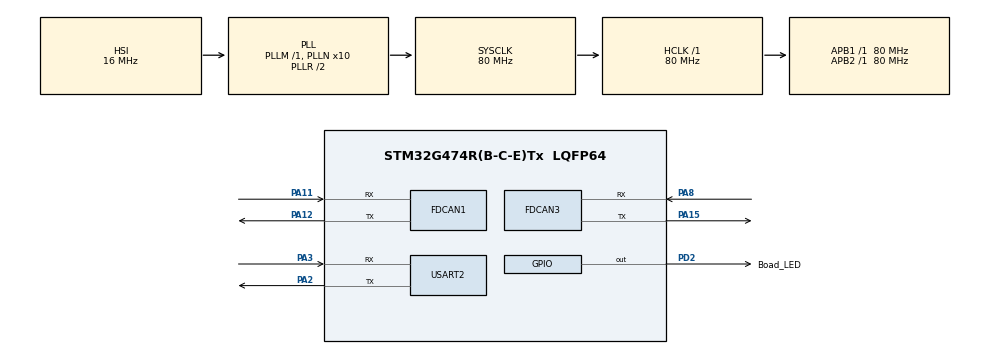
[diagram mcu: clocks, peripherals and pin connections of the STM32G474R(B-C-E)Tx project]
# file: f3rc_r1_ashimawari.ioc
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FDCAN1.CalculateBaudRateNominal=1000000
FDCAN1.CalculateTimeBitNominal=1000
FDCAN1.CalculateTimeQuantumNominal=50.0
FDCAN1.DataPrescaler=2
FDCAN1.DataTimeSeg1=15
FDCAN1.DataTimeSeg2=4
FDCAN1.FrameFormat=FDCAN_FRAME_FD_BRS
FDCAN1.NominalPrescaler=4
FDCAN1.NominalTimeSeg1=15
FDCAN1.NominalTimeSeg2=4
FDCAN1.StdFiltersNbr=1
FDCAN3.CalculateBaudRateNominal=1000000
FDCAN3.CalculateTimeBitNominal=1000
FDCAN3.CalculateTimeQuantumNominal=50.0
FDCAN3.DataPrescaler=2
FDCAN3.DataTimeSeg1=15
FDCAN3.DataTimeSeg2=4
FDCAN3.FrameFormat=FDCAN_FRAME_FD_BRS
FDCAN3.NominalPrescaler=4
FDCAN3.NominalTimeSeg1=15
FDCAN3.NominalTimeSeg2=4
FDCAN3.StdFiltersNbr=1
Mcu.Family=STM32G4
Mcu.Name=STM32G474R(B-C-E)Tx
Mcu.Package=LQFP64
NVIC.FDCAN1_IT0_IRQn=true\:0\:0\:false\:false\:true\:true\:true\:true
NVIC.FDCAN1_IT1_IRQn=true\:0\:0\:false\:false\:true\:true\:true\:true
NVIC.FDCAN3_IT0_IRQn=true\:0\:0\:false\:false\:true\:true\:true\:true
NVIC.FDCAN3_IT1_IRQn=true\:0\:0\:false\:false\:true\:true\:true\:true
NVIC.PriorityGroup=NVIC_PRIORITYGROUP_4
NVIC.TIM2_IRQn=true\:0\:0\:false\:false\:true\:true\:true\:true
NVIC.TIM6_DAC_IRQn=true\:0\:0\:false\:false\:true\:true\:true\:true
PA11.Mode=FDCAN_Activate
PA11.Signal=FDCAN1_RX
PA12.Mode=FDCAN_Activate
PA12.Signal=FDCAN1_TX
PA15.Mode=FDCAN_Activate
PA15.Signal=FDCAN3_TX
PA2.Mode=Asynchronous
PA2.Signal=USART2_TX
PA3.Mode=Asynchronous
PA3.Signal=USART2_RX
PA8.Mode=FDCAN_Activate
PA8.Signal=FDCAN3_RX
PD2.GPIO_Label=Boad_LED
PD2.Signal=GPIO_Output
ProjectManager.HeapSize=0x200
ProjectManager.StackSize=0x400
ProjectManager.TargetToolchain=STM32CubeIDE
RCC.ADC12Freq_Value=80000000
RCC.ADC345Freq_Value=80000000
RCC.AHBFreq_Value=80000000
RCC.APB1Freq_Value=80000000
RCC.APB1TimFreq_Value=80000000
RCC.APB2Freq_Value=80000000
RCC.APB2TimFreq_Value=80000000
RCC.CortexFreq_Value=80000000
RCC.EXTERNAL_CLOCK_VALUE=12288000
RCC.HCLKFreq_Value=80000000
RCC.HSE_VALUE=8000000
RCC.HSI48_VALUE=48000000
RCC.HSI_VALUE=16000000
RCC.LSE_VALUE=32768
RCC.PLLN=10
RCC.SYSCLKFreq_VALUE=80000000
RCC.SYSCLKSource=RCC_SYSCLKSOURCE_PLLCLK
RCC.USBFreq_Value=80000000
RCC.VCOOutputFreq_Value=160000000
TIM2.PeriodNoDither=4999
TIM2.Prescaler=7999
TIM6.Prescaler=9
USART2.VirtualMode-Asynchronous=VM_ASYNC
VP_SYS_VS_DBSignals.Mode=DisableDeadBatterySignals
VP_TIM2_VS_ClockSourceINT.Mode=Internal
VP_TIM6_VS_ClockSourceINT.Mode=Enable_Timer
board=custom

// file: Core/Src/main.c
/* USER CODE BEGIN Header */
/**
  ******************************************************************************
  * @file           : main.c
  * @brief          : Main program body
  ******************************************************************************
  * @attention
  *
  * Copyright (c) 2024 STMicroelectronics.
  * All rights reserved.
  *
  * This software is licensed under terms that can be found in the LICENSE file
  * in the root directory of this software component.
  * If no LICENSE file comes with this software, it is provided AS-IS.
  *
  ******************************************************************************
  */
/* USER CODE END Header */
#include "main.h"

/* USER CODE BEGIN Includes */
#include <stdio.h>
#include <math.h>
/* USER CODE END Includes */

/* USER CODE BEGIN PTD */
typedef struct{
	uint16_t CANID;
	uint8_t motorID;
	int16_t trgVel;
	volatile int16_t actVel;
	volatile int16_t p_actVel;
	volatile int16_t cu;
	double angle;
	int16_t actCurrent;
	float hensa;
	float ind;
	float w;
}motor;
/* USER CODE END PTD */

/* USER CODE BEGIN PD */
#define R_F 4
#define L_F 3
#define R_B 1
#define L_B 2

#define PI 3.1415

#define true 1
#define false 0
/* USER CODE END PD */

FDCAN_HandleTypeDef hfdcan1;
FDCAN_HandleTypeDef hfdcan3;

TIM_HandleTypeDef htim2;
TIM_HandleTypeDef htim6;

UART_HandleTypeDef huart2;

/* USER CODE BEGIN PV */
const float a0 = PI/180*45;
const float a1 = PI/180*135;
const float a2 = PI/180*225;
const float a3 = PI/180*315;
const float r = 0.03;
const float R = 0.20;

FDCAN_TxHeaderTypeDef TxHeader;
FDCAN_RxHeaderTypeDef RxHeader;
FDCAN_TxHeaderTypeDef TxHeader_motor;
FDCAN_RxHeaderTypeDef RxHeader_motor;
FDCAN_FilterTypeDef sFilterConfig;

uint8_t TxData[8] = {};
uint8_t RxData[8] = {};
uint8_t TxData_motor[8] = {};
uint8_t RxData_motor[8] = {};
uint32_t TxMailbox;

volatile int16_t vel_x = 0, vel_y = 0, omega_c = 0;

volatile int16_t purpose = 64;
motor robomas[4] = {
		{0x201, 1, 0, 0, 0, 0, 0, 0, 0, 0, 0},
		{0x202, 2, 0, 0, 0, 0, 0, 0, 0, 0, 0},
		{0x203, 3, 0, 0, 0, 0, 0, 0, 0, 0, 0},
		{0x204, 4, 0, 0, 0, 0, 0, 0, 0, 0, 0}
};

volatile float k_p = 7, k_i = 0.5, k_d = 0.0001;
volatile float vx = 0, vy = 0, omega = 0;

volatile uint8_t is_Right = 0, is_Left = 0, is_Up = 0, is_Down = 0, is_Circle = 0, is_Square = 0, is_Triangle = 0;
volatile uint8_t is_Cross = 0, is_UpRight = 0, is_DownRight = 0, is_UpLeft = 0, is_DownLeft = 0, is_R1 = 0, is_L1 = 0;
volatile uint8_t is_Share = 0, is_Options = 0, is_R3 = 0, is_L3 = 0, is_PsButton = 0, is_Touchpad = 0;

volatile int8_t b_x, b_y;

volatile uint8_t Emergencystate = 2;//0 正常 1 異常
volatile uint8_t zoom = 1;
volatile int8_t inversion = 1;
volatile uint8_t invertime = 0;
/* USER CODE END PV */

void SystemClock_Config(void);
static void MX_GPIO_Init(void);
static void MX_FDCAN1_Init(void);
static void MX_FDCAN3_Init(void);
static void MX_USART2_UART_Init(void);
static void MX_TIM6_Init(void);
static void MX_TIM2_Init(void);

/* USER CODE BEGIN 0 */

void HAL_FDCAN_RxFifo0Callback(FDCAN_HandleTypeDef *hfdcan, uint32_t RxFifo0ITs){
	if ((RxFifo0ITs & FDCAN_IT_RX_FIFO0_NEW_MESSAGE) != RESET) {

	        /* Retrieve Rx messages from RX FIFO0 */
		if (HAL_FDCAN_GetRxMessage(&hfdcan3, FDCAN_RX_FIFO0, &RxHeader_motor, RxData_motor) != HAL_OK) {
			printf("fdcan_getrxmessage_motor is error\r\n");
			Error_Handler();
		}
		for (int i=0; i<=3;i++){
			if (RxHeader_motor.Identifier == (robomas[i].CANID)) {
				robomas[i].angle = (int16_t)((RxData_motor[0] << 8) | RxData_motor[1]);
				robomas[i].actVel = (int16_t)((RxData_motor[2] << 8) | RxData_motor[3]);
				robomas[i].actCurrent = (int16_t)((RxData_motor[4] << 8) | RxData_motor[5]);
			}
		}

	}

}

void HAL_FDCAN_RxFifo1Callback(FDCAN_HandleTypeDef *hfdcan, uint32_t RxFifo1ITs){
	if ((RxFifo1ITs & FDCAN_IT_RX_FIFO1_NEW_MESSAGE) != RESET) {

	        /* Retrieve Rx messages from RX FIFO0 */

		if (HAL_FDCAN_GetRxMessage(&hfdcan1, FDCAN_RX_FIFO1, &RxHeader, RxData) != HAL_OK) {
			printf("fdcan_getrxmessage is error\r\n");
			Error_Handler();
		}

		if (RxHeader.Identifier == 0x300) {
			Emergencystate=0;
			vel_x = (int8_t)RxData[0];
			vel_y = (int8_t)RxData[1];
			omega_c = (uint8_t)RxData[5] - (uint8_t)RxData[4];
			if ((RxData[6] & 0x40) == 0x40){
				is_Right = true;
			}
			else {
				is_Right = false;
			}
			if ((RxData[6] & 0x20) == 0x20){
				is_Left = true;
			}
			else {
				is_Left = false;
			}
			if ((RxData[6] & 0x10) == 0x10){
				is_Up = true;
			}
			else {
				is_Up = false;
			}
			if ((RxData[6] & 0x8) == 0x8){
				is_Down = true;
			}
			else {
				is_Down = false;
			}
			if((RxData[6] & 0x01) == 0x01){
				zoom = 3;
			}else {
				zoom = 1;
			}
			if ((RxData[7] & 0x04) == 0x04){
				is_DownLeft = true;
			}
			else {
				is_DownLeft = false;
			}
			if ((RxData[7] & 0x08) == 0x08){
				is_UpLeft = true;
			}
			else {
				is_UpLeft = false;
			}
			if ((RxData[7] & 0x0f) == 0x0f){
				is_DownRight = true;
			}
			else {
				is_DownRight = false;
			}
			if ((RxData[7] & 0x10) == 0x10){
				is_UpRight = true;
			}
			else {
				is_UpRight = false;
			}
			printf("%d",invertime);
			if(invertime > 100){
				printf("inver\r\n");
				invertime = 100;
				if((RxData[6] & 0x02) == 0x02){
					inversion *= -1;
					invertime = 0;
				}
			}
			invertime++;
		}
		if (RxHeader.Identifier == 0x301) {
			if ((int8_t)RxData[1] == 1) {
				vel_x = 0;
				vel_y = 0;
				is_Right = false;
				is_Left = false;
				is_Up = false;
				is_Down = false;
			}
		}

	}
}

void FDCAN_RxTxSettings(void){
	FDCAN_FilterTypeDef FDCAN_Filter_settings;
	FDCAN_Filter_settings.IdType = FDCAN_STANDARD_ID;
	FDCAN_Filter_settings.FilterIndex = 0;
	FDCAN_Filter_settings.FilterType = FDCAN_FILTER_RANGE;
	FDCAN_Filter_settings.FilterConfig = FDCAN_FILTER_TO_RXFIFO1;
	FDCAN_Filter_settings.FilterID1 = 0x200;
	FDCAN_Filter_settings.FilterID2 = 0x310;

	TxHeader.Identifier = 0x000;
	TxHeader.IdType = FDCAN_STANDARD_ID;
	TxHeader.TxFrameType = FDCAN_DATA_FRAME;
	TxHeader.DataLength = FDCAN_DLC_BYTES_8;
	TxHeader.ErrorStateIndicator = FDCAN_ESI_ACTIVE;
	TxHeader.BitRateSwitch = FDCAN_BRS_ON;
	TxHeader.FDFormat = FDCAN_FD_CAN;
	TxHeader.TxEventFifoControl = FDCAN_NO_TX_EVENTS;
	TxHeader.MessageMarker = 0;

	if (HAL_FDCAN_ConfigFilter(&hfdcan1, &FDCAN_Filter_settings) != HAL_OK){
		printf("fdcan_configfilter is error\r\n");
		Error_Handler();
	}

	if (HAL_FDCAN_ConfigGlobalFilter(&hfdcan1, FDCAN_REJECT, FDCAN_FILTER_REJECT, FDCAN_FILTER_REMOTE, FDCAN_FILTER_REMOTE) != HAL_OK){
		printf("fdcan_configglobalfilter is error\r\n");
		Error_Handler();
	}

	if (HAL_FDCAN_Start(&hfdcan1) != HAL_OK) {
		printf("fdcan_start is error\r\n");
		Error_Handler();
	}

	if (HAL_FDCAN_ActivateNotification(&hfdcan1, FDCAN_IT_RX_FIFO1_NEW_MESSAGE, 0) != HAL_OK){
		printf("fdcan_activatenotification is error\r\n");
		Error_Handler();
	}
}

void FDCAN_motor_RxTxSettings(void) {
	FDCAN_FilterTypeDef FDCAN_Filter_settings_motor;
	FDCAN_Filter_settings_motor.IdType = FDCAN_STANDARD_ID;
	FDCAN_Filter_settings_motor.FilterIndex = 0;
	FDCAN_Filter_settings_motor.FilterType = FDCAN_FILTER_RANGE;
	FDCAN_Filter_settings_motor.FilterConfig = FDCAN_FILTER_TO_RXFIFO0;
	FDCAN_Filter_settings_motor.FilterID1 = 0x200;
	FDCAN_Filter_settings_motor.FilterID2 = 0x210;

	TxHeader_motor.Identifier = 0x200;
	TxHeader_motor.IdType = FDCAN_STANDARD_ID;
	TxHeader_motor.TxFrameType = FDCAN_DATA_FRAME;
	TxHeader_motor.DataLength = FDCAN_DLC_BYTES_8;
	TxHeader_motor.ErrorStateIndicator = FDCAN_ESI_ACTIVE;
	TxHeader_motor.BitRateSwitch = FDCAN_BRS_OFF;
	TxHeader_motor.FDFormat = FDCAN_CLASSIC_CAN;
	TxHeader_motor.TxEventFifoControl = FDCAN_NO_TX_EVENTS;
	TxHeader_motor.MessageMarker = 0;

	if (HAL_FDCAN_ConfigFilter(&hfdcan3, &FDCAN_Filter_settings_motor) != HAL_OK){
		printf("fdcan_configfilter is error\r\n");
		Error_Handler();
	}

	if (HAL_FDCAN_ConfigGlobalFilter(&hfdcan3, FDCAN_REJECT, FDCAN_FILTER_REJECT, FDCAN_FILTER_REMOTE, FDCAN_FILTER_REMOTE)){
		printf("fdcan_configglobalfilter is error\r\n");
		Error_Handler();
	}

	if (HAL_FDCAN_Start(&hfdcan3) != HAL_OK) {
		printf("fdcan_start is error\r\n");
		Error_Handler();
	}

	if (HAL_FDCAN_ActivateNotification(&hfdcan3, FDCAN_IT_RX_FIFO0_NEW_MESSAGE, 0) != HAL_OK){
		printf("fdcan_activatenotification is error\r\n");
		Error_Handler();
	}
}

void omni_calc(float theta,float vx,float vy,float omega,float *w0,float *w1,float *w2,float *w3){

	float v[3] = {vx, vy, omega};
	float sint = sin(theta);
	float cost = cos(theta);

	float arr[4][3] =
	{{-cos(a0)*sint-sin(a0)*cost, cos(a0)*cost-sin(a0)*sint, R},
	{-cos(a1)*sint-sin(a1)*cost, cos(a1)*cost-sin(a1)*sint, R},
	{-cos(a2)*sint-sin(a2)*cost, cos(a2)*cost-sin(a2)*sint, R},
	{-cos(a3)*sint-sin(a3)*cost, cos(a3)*cost-sin(a3)*sint, R}};

	*w0 = (arr[0][0] * v[0] + arr[0][1] * v[1] + arr[0][2] * v[2]) / r;
	*w1 = (arr[1][0] * v[0] + arr[1][1] * v[1] + arr[1][2] * v[2]) / r;
	*w2 = (arr[2][0] * v[0] + arr[2][1] * v[1] + arr[2][2] * v[2]) / r;
	*w3 = (arr[3][0] * v[0] + arr[3][1] * v[1] + arr[3][2] * v[2]) / r;
}

void HAL_TIM_PeriodElapsedCallback(TIM_HandleTypeDef *htim){
	if(htim == &htim6){
		if (vel_x < 10 && vel_x > -10){
			vel_x = 0;
		}
		if (vel_y < 10 && vel_y > -10){
			vel_y = 0;
		}
		vx = vel_x*0.01;
		vy = vel_y*0.01;
		omega = omega_c/100;

		if (is_Right){
			vx = 0.1*zoom;
		}
		if (is_Left){
			vx = -0.1*zoom;
		}
		if (is_Up){
			vy = 0.1*zoom;
		}
		if (is_Down){
			vy = -0.1*zoom;
		}
		if (is_UpRight){
			vx = 0.1*zoom;
			vy = 0.1*zoom;
		}
		if (is_DownLeft){
			vx = -0.1*zoom;
			vy = -0.1*zoom;
		}
		if (is_UpLeft){
			vy = 0.1*zoom;
			vx = -0.1*zoom;
		}
		if (is_DownRight){
			vy = -0.1*zoom;
			vx = 0.1*zoom;
		}

		vx *= inversion;
		vy *= inversion;

		omni_calc(0 ,vx, vy, omega, &robomas[R_F-1].w, &robomas[L_F-1].w, &robomas[L_B-1].w, &robomas[R_B-1].w);
		robomas[R_F-1].trgVel = (int)(-1*robomas[R_F-1].w*36*60/(2*PI));
		robomas[R_B-1].trgVel = (int)(-1*robomas[R_B-1].w*36*60/(2*PI));
		robomas[L_F-1].trgVel =  (int)(-1*robomas[L_F-1].w*36*60/(2*PI));
		robomas[L_B-1].trgVel = (int)(-1*robomas[L_B-1].w*36*60/(2*PI));

		for (int i=0; i<=3; i++){
			robomas[i].hensa = robomas[i].trgVel - robomas[i].actVel;
			if (robomas[i].hensa >= 1000) robomas[i].hensa = 1000;
			else if (robomas[i].hensa <= -1000) robomas[i].hensa = -1000;
			float d = (robomas[i].actVel - robomas[i].p_actVel) / 0.001;
			robomas[i].ind += robomas[i].hensa*0.1;
			if (d >= 30000) d = 30000;
			else if (d <= -30000) d = -30000;
			if (robomas[i].ind >= 10000) robomas[i].ind = 10000;
			else if (robomas[i].ind <= -10000) robomas[i].ind = -10000;

			float t = k_p*robomas[i].hensa;
			if (t>=10000) t = 10000;
			else if (t<=-10000) t = -10000;
			robomas[i].cu = (int16_t)(t+k_i*robomas[i].ind+k_d*d);
			if (robomas[i].cu <= -10000) robomas[i].cu = -10000;
			else if (robomas[i].cu >= 10000) robomas[i].cu = 10000;

			TxData_motor[i*2] = (robomas[i].cu) >> 8;
			TxData_motor[i*2+1] = (uint8_t)((robomas[i].cu) & 0xff);
			robomas[i].p_actVel = robomas[i].actVel;
		}
		if (HAL_FDCAN_AddMessageToTxFifoQ(&hfdcan3, &TxHeader_motor, TxData_motor) != HAL_OK){
			printf("addmassage is error\r\n");
			Error_Handler();
		}
	}
	if(htim == &htim2){
		if(Emergencystate==0){
			Emergencystate=1;
		}else if(Emergencystate==1){
			for(int i=0;i<8;i++){
				TxData_motor[i]=0;
			}
		}
	}
}

int _write(int file, char *ptr, int len)
{
    HAL_UART_Transmit(&huart2,(uint8_t *)ptr,len,10);
    return len;
}
/* USER CODE END 0 */

int main(void)
{

  /* USER CODE BEGIN 1 */
	setbuf(stdout, NULL);
  /* USER CODE END 1 */

  /* MCU Configuration--------------------------------------------------------*/

  /* Reset of all peripherals, Initializes the Flash interface and the Systick. */
  HAL_Init();

  /* Configure the system clock */
  SystemClock_Config();

  /* Initialize all configured peripherals */
  MX_GPIO_Init();
  MX_FDCAN1_Init();
  MX_FDCAN3_Init();
  MX_USART2_UART_Init();
  MX_TIM6_Init();
  MX_TIM2_Init();
  /* USER CODE BEGIN 2 */
  printf("start\r\n");
  FDCAN_motor_RxTxSettings();
  printf("can_motor_start\r\n");
  FDCAN_RxTxSettings();
  printf("can_main_start\r\n");
  vx = 0;
  vy = 0;
  omega = 0;
  HAL_TIM_Base_Start_IT(&htim6);
  /* USER CODE END 2 */

  /* Infinite loop */
  /* USER CODE BEGIN WHILE */
  while (1)
  {

	  //printf("act:%d,(%d,%d), omega:%d\r\n", robomas[0].actVel, vel_x, vel_y, omega_c);
	  HAL_Delay(1);
    /* USER CODE END WHILE */

  }
}

void SystemClock_Config(void)
{
  RCC_OscInitTypeDef RCC_OscInitStruct = {0};
  RCC_ClkInitTypeDef RCC_ClkInitStruct = {0};

  /** Configure the main internal regulator output voltage
  */
  HAL_PWREx_ControlVoltageScaling(PWR_REGULATOR_VOLTAGE_SCALE1);

  /** Initializes the RCC Oscillators according to the specified parameters
  * in the RCC_OscInitTypeDef structure.
  */
  RCC_OscInitStruct.OscillatorType = RCC_OSCILLATORTYPE_HSI;
  RCC_OscInitStruct.HSIState = RCC_HSI_ON;
  RCC_OscInitStruct.HSICalibrationValue = RCC_HSICALIBRATION_DEFAULT;
  RCC_OscInitStruct.PLL.PLLState = RCC_PLL_ON;
  RCC_OscInitStruct.PLL.PLLSource = RCC_PLLSOURCE_HSI;
  RCC_OscInitStruct.PLL.PLLM = RCC_PLLM_DIV1;
  RCC_OscInitStruct.PLL.PLLN = 10;
  RCC_OscInitStruct.PLL.PLLP = RCC_PLLP_DIV2;
  RCC_OscInitStruct.PLL.PLLQ = RCC_PLLQ_DIV2;
  RCC_OscInitStruct.PLL.PLLR = RCC_PLLR_DIV2;
  if (HAL_RCC_OscConfig(&RCC_OscInitStruct) != HAL_OK)
  {
    Error_Handler();
  }

  /** Initializes the CPU, AHB and APB buses clocks
  */
  RCC_ClkInitStruct.ClockType = RCC_CLOCKTYPE_HCLK|RCC_CLOCKTYPE_SYSCLK
                              |RCC_CLOCKTYPE_PCLK1|RCC_CLOCKTYPE_PCLK2;
  RCC_ClkInitStruct.SYSCLKSource = RCC_SYSCLKSOURCE_PLLCLK;
  RCC_ClkInitStruct.AHBCLKDivider = RCC_SYSCLK_DIV1;
  RCC_ClkInitStruct.APB1CLKDivider = RCC_HCLK_DIV1;
  RCC_ClkInitStruct.APB2CLKDivider = RCC_HCLK_DIV1;

  if (HAL_RCC_ClockConfig(&RCC_ClkInitStruct, FLASH_LATENCY_2) != HAL_OK)
  {
    Error_Handler();
  }
}

static void MX_FDCAN1_Init(void)
{

  hfdcan1.Instance = FDCAN1;
  hfdcan1.Init.ClockDivider = FDCAN_CLOCK_DIV1;
  hfdcan1.Init.FrameFormat = FDCAN_FRAME_FD_BRS;
  hfdcan1.Init.Mode = FDCAN_MODE_NORMAL;
  hfdcan1.Init.AutoRetransmission = DISABLE;
  hfdcan1.Init.TransmitPause = DISABLE;
  hfdcan1.Init.ProtocolException = DISABLE;
  hfdcan1.Init.NominalPrescaler = 4;
  hfdcan1.Init.NominalSyncJumpWidth = 1;
  hfdcan1.Init.NominalTimeSeg1 = 15;
  hfdcan1.Init.NominalTimeSeg2 = 4;
  hfdcan1.Init.DataPrescaler = 2;
  hfdcan1.Init.DataSyncJumpWidth = 1;
  hfdcan1.Init.DataTimeSeg1 = 15;
  hfdcan1.Init.DataTimeSeg2 = 4;
  hfdcan1.Init.StdFiltersNbr = 1;
  hfdcan1.Init.ExtFiltersNbr = 0;
  hfdcan1.Init.TxFifoQueueMode = FDCAN_TX_FIFO_OPERATION;
  if (HAL_FDCAN_Init(&hfdcan1) != HAL_OK)
  {
    Error_Handler();
  }

}

static void MX_FDCAN3_Init(void)
{

  hfdcan3.Instance = FDCAN3;
  hfdcan3.Init.ClockDivider = FDCAN_CLOCK_DIV1;
  hfdcan3.Init.FrameFormat = FDCAN_FRAME_FD_BRS;
  hfdcan3.Init.Mode = FDCAN_MODE_NORMAL;
  hfdcan3.Init.AutoRetransmission = DISABLE;
  hfdcan3.Init.TransmitPause = DISABLE;
  hfdcan3.Init.ProtocolException = DISABLE;
  hfdcan3.Init.NominalPrescaler = 4;
  hfdcan3.Init.NominalSyncJumpWidth = 1;
  hfdcan3.Init.NominalTimeSeg1 = 15;
  hfdcan3.Init.NominalTimeSeg2 = 4;
  hfdcan3.Init.DataPrescaler = 2;
  hfdcan3.Init.DataSyncJumpWidth = 1;
  hfdcan3.Init.DataTimeSeg1 = 15;
  hfdcan3.Init.DataTimeSeg2 = 4;
  hfdcan3.Init.StdFiltersNbr = 1;
  hfdcan3.Init.ExtFiltersNbr = 0;
  hfdcan3.Init.TxFifoQueueMode = FDCAN_TX_FIFO_OPERATION;
  if (HAL_FDCAN_Init(&hfdcan3) != HAL_OK)
  {
    Error_Handler();
  }

}

static void MX_TIM2_Init(void)
{

  TIM_ClockConfigTypeDef sClockSourceConfig = {0};
  TIM_MasterConfigTypeDef sMasterConfig = {0};

  htim2.Instance = TIM2;
  htim2.Init.Prescaler = 7999;
  htim2.Init.CounterMode = TIM_COUNTERMODE_UP;
  htim2.Init.Period = 4999;
  htim2.Init.ClockDivision = TIM_CLOCKDIVISION_DIV1;
  htim2.Init.AutoReloadPreload = TIM_AUTORELOAD_PRELOAD_DISABLE;
  if (HAL_TIM_Base_Init(&htim2) != HAL_OK)
  {
    Error_Handler();
  }
  sClockSourceConfig.ClockSource = TIM_CLOCKSOURCE_INTERNAL;
  if (HAL_TIM_ConfigClockSource(&htim2, &sClockSourceConfig) != HAL_OK)
  {
    Error_Handler();
  }
  sMasterConfig.MasterOutputTrigger = TIM_TRGO_RESET;
  sMasterConfig.MasterSlaveMode = TIM_MASTERSLAVEMODE_DISABLE;
  if (HAL_TIMEx_MasterConfigSynchronization(&htim2, &sMasterConfig) != HAL_OK)
  {
    Error_Handler();
  }

}

static void MX_TIM6_Init(void)
{

  TIM_MasterConfigTypeDef sMasterConfig = {0};

  htim6.Instance = TIM6;
  htim6.Init.Prescaler = 9;
  htim6.Init.CounterMode = TIM_COUNTERMODE_UP;
  htim6.Init.Period = 65535;
  htim6.Init.AutoReloadPreload = TIM_AUTORELOAD_PRELOAD_DISABLE;
  if (HAL_TIM_Base_Init(&htim6) != HAL_OK)
  {
    Error_Handler();
  }
  sMasterConfig.MasterOutputTrigger = TIM_TRGO_RESET;
  sMasterConfig.MasterSlaveMode = TIM_MASTERSLAVEMODE_DISABLE;
  if (HAL_TIMEx_MasterConfigSynchronization(&htim6, &sMasterConfig) != HAL_OK)
  {
    Error_Handler();
  }

}

static void MX_USART2_UART_Init(void)
{

  huart2.Instance = USART2;
  huart2.Init.BaudRate = 115200;
  huart2.Init.WordLength = UART_WORDLENGTH_8B;
  huart2.Init.StopBits = UART_STOPBITS_1;
  huart2.Init.Parity = UART_PARITY_NONE;
  huart2.Init.Mode = UART_MODE_TX_RX;
  huart2.Init.HwFlowCtl = UART_HWCONTROL_NONE;
  huart2.Init.OverSampling = UART_OVERSAMPLING_16;
  huart2.Init.OneBitSampling = UART_ONE_BIT_SAMPLE_DISABLE;
  huart2.Init.ClockPrescaler = UART_PRESCALER_DIV1;
  huart2.AdvancedInit.AdvFeatureInit = UART_ADVFEATURE_NO_INIT;
  if (HAL_UART_Init(&huart2) != HAL_OK)
  {
    Error_Handler();
  }
  if (HAL_UARTEx_SetTxFifoThreshold(&huart2, UART_TXFIFO_THRESHOLD_1_8) != HAL_OK)
  {
    Error_Handler();
  }
  if (HAL_UARTEx_SetRxFifoThreshold(&huart2, UART_RXFIFO_THRESHOLD_1_8) != HAL_OK)
  {
    Error_Handler();
  }
  if (HAL_UARTEx_DisableFifoMode(&huart2) != HAL_OK)
  {
    Error_Handler();
  }

}

static void MX_GPIO_Init(void)
{
  GPIO_InitTypeDef GPIO_InitStruct = {0};

  /* GPIO Ports Clock Enable */
  __HAL_RCC_GPIOA_CLK_ENABLE();
  __HAL_RCC_GPIOD_CLK_ENABLE();

  /*Configure GPIO pin Output Level */
  HAL_GPIO_WritePin(Boad_LED_GPIO_Port, Boad_LED_Pin, GPIO_PIN_RESET);

  /*Configure GPIO pin : Boad_LED_Pin */
  GPIO_InitStruct.Pin = Boad_LED_Pin;
  GPIO_InitStruct.Mode = GPIO_MODE_OUTPUT_PP;
  GPIO_InitStruct.Pull = GPIO_NOPULL;
  GPIO_InitStruct.Speed = GPIO_SPEED_FREQ_LOW;
  HAL_GPIO_Init(Boad_LED_GPIO_Port, &GPIO_InitStruct);

}

void Error_Handler(void)
{
  /* USER CODE BEGIN Error_Handler_Debug */
  /* User can add his own implementation to report the HAL error return state */
  __disable_irq();
  printf("Error\r\n");
  HAL_GPIO_WritePin(Boad_LED_GPIO_Port, Boad_LED_Pin, GPIO_PIN_SET);
  while (1)
  {
  }
  /* USER CODE END Error_Handler_Debug */
}
